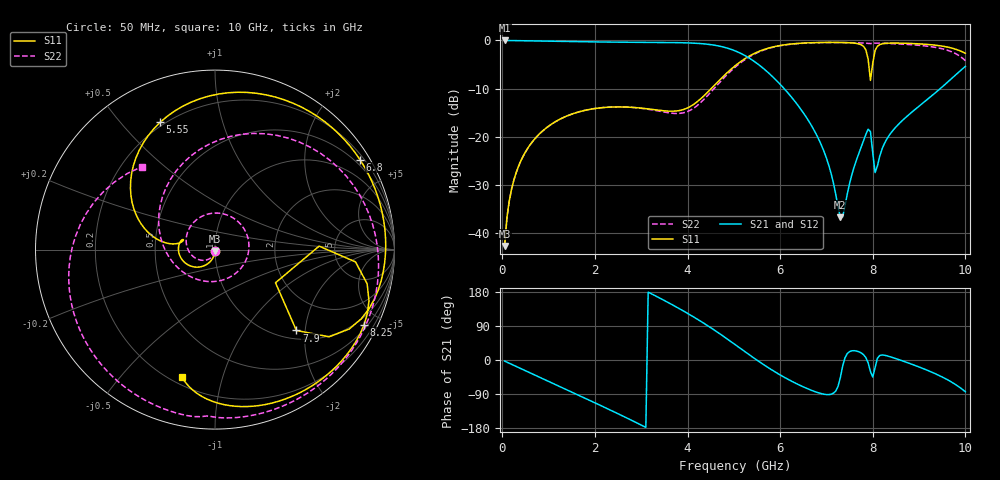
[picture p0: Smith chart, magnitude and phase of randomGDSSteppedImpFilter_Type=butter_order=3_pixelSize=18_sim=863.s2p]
! freq	dB(S11)	phase(S11)	dB(S12)	phase(S12)
!  dB(S21)	phase(S21)	dB(S22)	phase(S22)
!S-par simulation data
#  GHz  S  DB  R 50
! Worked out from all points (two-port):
!   200 points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, 50 MHz to 10 GHz, reference 50 ohm
!   highest |S21| = -0.01 dB at 50 MHz (marker M1); lowest = -36.7 dB at 7.3 GHz (marker M2)
!   |S21| within 3 dB of the highest: start of sweep to 5.213 GHz
!   lowest |S11| = -42.7 dB at 50 MHz (marker M3), VSWR 1.01, Z = 50 - j0.731 ohm
!   |S11| at or under -10 dB: start of sweep to 4.512 GHz
!   |S22| runs from -42.7 to -0.4 dB; largest |S21 - S12| = 0
!   S11 on the Smith chart (normalised r, x): 50 MHz: 1.00, -0.01; 5.55 GHz: 0.18, +0.64; 6.8 GHz: 0.33, +3.47; 7.9 GHz: 1.18, -1.80; 8.25 GHz: 0.66, -4.11; 10 GHz: 0.24, -0.75
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0.05  -42.72 -89.9  -0.01 -2.9  -0.01 -2.9  -42.75 -91.6
0.2  -30.91 -97.9  -0.02 -11.4  -0.02 -11.4  -30.94 -104.0
0.5  -23.17 -111.0  -0.06 -28.3  -0.06 -28.3  -23.21 -126.4
1.75  -14.60 -158.8  -0.27 -98.7  -0.27 -98.7  -14.60 139.6
2.65  -13.83 174.6  -0.37 -150.7  -0.37 -150.7  -13.82 63.2
3.4  -14.53 162.5  -0.42 163.4  -0.42 163.4  -14.72 -15.1
4.3  -11.99 172.5  -0.67 101.0  -0.67 101.0  -12.76 -153.8
5.05  -5.10 147.3  -2.25 38.7  -2.25 38.7  -5.37 104.5
5.55  -2.24 113.3  -5.14 -4.6  -5.14 -4.6  -2.36 51.7
6.1  -0.90 75.0  -10.16 -46.3  -10.16 -46.3  -0.95 5.4
6.7  -0.47 37.7  -18.09 -81.1  -18.09 -81.1  -0.50 -33.3
6.8  -0.44 31.9  -19.89 -85.5  -19.89 -85.5  -0.47 -38.9
7.3  -0.42 3.9  -36.73 -46.1  -36.73 -46.1  -0.44 -64.3
7.7  -0.73 -21.0  -23.43 21.8  -23.43 21.8  -0.51 -82.6
7.9  -3.89 -44.8  -18.44 -7.4  -18.44 -7.4  -0.63 -91.2
7.95  -8.30 -28.7  -18.96 -30.5  -18.96 -30.5  -0.65 -92.9
8  -4.72 1.9  -23.39 -44.8  -23.39 -44.8  -0.59 -94.8
8.05  -2.09 -5.0  -27.45 -20.4  -27.45 -20.4  -0.56 -97.1
8.25  -0.63 -26.7  -21.45 12.6  -21.45 12.6  -0.60 -106.1
8.35  -0.56 -33.1  -19.79 9.5  -19.79 9.5  -0.64 -110.6
9.4  -1.04 -80.5  -10.48 -38.9  -10.48 -38.9  -1.52 -165.7
10  -2.67 -104.3  -5.39 -83.7  -5.39 -83.7  -4.21 131.3
